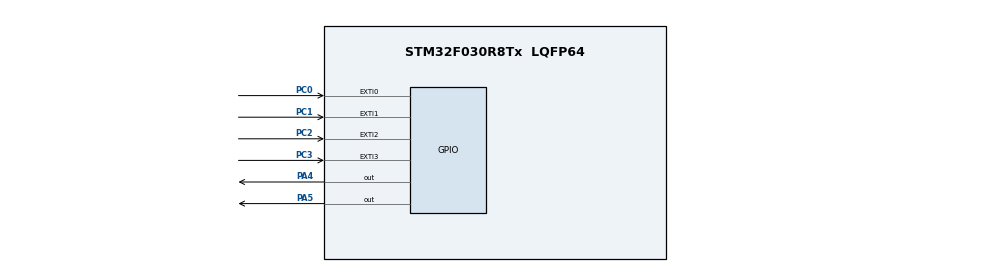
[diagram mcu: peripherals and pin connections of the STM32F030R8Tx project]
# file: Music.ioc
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Mcu.Family=STM32F0
Mcu.Name=STM32F030R8Tx
Mcu.Package=LQFP64
NVIC.EXTI0_1_IRQn=true\:0\:0\:false\:false\:true
NVIC.EXTI2_3_IRQn=true\:0\:0\:false\:false\:true
NVIC.TIM3_IRQn=true\:1\:0\:true\:false\:true
PA4.Signal=GPIO_Output
PA5.Signal=GPIO_Output
PC0.GPIO_ModeDefaultEXTI=GPIO_MODE_IT_FALLING
PC0.Signal=GPXTI0
PC1.GPIO_ModeDefaultEXTI=GPIO_MODE_IT_FALLING
PC1.Signal=GPXTI1
PC2.GPIO_ModeDefaultEXTI=GPIO_MODE_IT_FALLING
PC2.Signal=GPXTI2
PC3.GPIO_ModeDefaultEXTI=GPIO_MODE_IT_FALLING
PC3.Signal=GPXTI3
ProjectManager.HeapSize=0x200
ProjectManager.StackSize=0x400
ProjectManager.TargetToolchain=MDK-ARM V5
TIM3.Period=1
TIM3.Prescaler=0
VP_TIM3_VS_ClockSourceINT.Mode=Internal
board=Music

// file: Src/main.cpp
/**
  ******************************************************************************
  * File Name          : main.c
  * Description        : Main program body
  ******************************************************************************
  *
  * COPYRIGHT(c) 2016 STMicroelectronics
  *
  * Redistribution and use in source and binary forms, with or without modification,
  * are permitted provided that the following conditions are met:
  *   1. Redistributions of source code must retain the above copyright notice,
  *      this list of conditions and the following disclaimer.
  *   2. Redistributions in binary form must reproduce the above copyright notice,
  *      this list of conditions and the following disclaimer in the documentation
  *      and/or other materials provided with the distribution.
  *   3. Neither the name of STMicroelectronics nor the names of its contributors
  *      may be used to endorse or promote products derived from this software
  *      without specific prior written permission.
  *
  * THIS SOFTWARE IS PROVIDED BY THE COPYRIGHT HOLDERS AND CONTRIBUTORS "AS IS"
  * AND ANY EXPRESS OR IMPLIED WARRANTIES, INCLUDING, BUT NOT LIMITED TO, THE
  * IMPLIED WARRANTIES OF MERCHANTABILITY AND FITNESS FOR A PARTICULAR PURPOSE ARE
  * DISCLAIMED. IN NO EVENT SHALL THE COPYRIGHT HOLDER OR CONTRIBUTORS BE LIABLE
  * FOR ANY DIRECT, INDIRECT, INCIDENTAL, SPECIAL, EXEMPLARY, OR CONSEQUENTIAL
  * DAMAGES (INCLUDING, BUT NOT LIMITED TO, PROCUREMENT OF SUBSTITUTE GOODS OR
  * SERVICES; LOSS OF USE, DATA, OR PROFITS; OR BUSINESS INTERRUPTION) HOWEVER
  * CAUSED AND ON ANY THEORY OF LIABILITY, WHETHER IN CONTRACT, STRICT LIABILITY,
  * OR TORT (INCLUDING NEGLIGENCE OR OTHERWISE) ARISING IN ANY WAY OUT OF THE USE
  * OF THIS SOFTWARE, EVEN IF ADVISED OF THE POSSIBILITY OF SUCH DAMAGE.
  *
  ******************************************************************************
  */
#include "stm32f0xx_hal.h"

TIM_HandleTypeDef htim3;

/* USER CODE BEGIN PV */
/* Private variables ---------------------------------------------------------*/

/* USER CODE END PV */

void SystemClock_Config(void);
void Error_Handler(void);
static void MX_GPIO_Init(void);
static void MX_TIM3_Init(void);

/* USER CODE BEGIN PFP */
/* Private function prototypes -----------------------------------------------*/

/* USER CODE END PFP */

/* USER CODE BEGIN 0 */
enum stairs{
	END=-1,
	N=0,
	A1=1455,
	B1b=1373,
	B1=1296,
	C1=1223,
	C1s=1154,
	D1=1090,
	E1b=1029,
	E1=971,
	F1=916,
	F1s=865,
	G1=816,
	G1s=771,
	A2=727,
	B2b=686,
	B2=648,
	C2=612,
	C2s=577,
	D2=545,
	E2b=514,
	E2=485,
	F2=458,
	F2s=432,
	G2=408,
	G2s=385,
	A3=364,
	B3b=343,
	B3=324,
	C3=306,
	C3s=289,
	D3=272,
	E3b=257,
	E3=243,
	F3=229,
	F3s=216,
	G3=216,
	G3s=193,
	A4=182,
	B4b=172,
	B4=162,
	C4=153,
	C4s=144,
	D4=136,
	E4b=129,
	E4=121,
	F4=115,
	F4s=108,
	G4=102,
	G4s=96,
	A5=91,
	B5b=86,
	B5=81,
	C5=76,
	C5s=72,
	D5=68,
	D5s=64,
	E5b=64,
	E5=61,
	F5=57,
	F5s=54,
	G5=51,
	G5s=48,
	A6=46,
	B6b=43,
	B6=40,
	C6=38,
	C6s=36,
	D6=34,
	E6b=32,
	E6=30,
	F6=29,
	F6s=27,
	G6=26,
	G6s=24,
	A7=23,
	B7b=21,
	B7=20,
	C7=19,
	C7s=18,
	D7=17,
	E7b=16,
	E7=15,
	F7=14,
	F7s=14,
	G7=13,
	G7s=12,
	A8=11,
	B8b=11,
	B8=10,
	C8=10,
};
const int map_1[]={E4b,E4b,E4b,G4,B5b,B5b,B5b,B5b,C5,C5,E5b,C5,B5b,B5b,B5b,B5b,G4,G4,G4,G4,B5b,G4,E4b,E4b,C4,C4,E4b,G4,B5b,B5b,B5b,B5b,
C5,C5,C5,C5,C5,E5b,B5b,B5b,G4,G4,F4,F4,G4,F4,E4b,E4b,F4,F4,B5b,B5b,B5b,A5,B5b,B5b,C5,C5,C5,C5,D5,C5,B5b,B5b,E5b,E5b,E5b,E5b,C5,C5,E5b,E5b,
B5b,B5b,B5b,C5,B5b,B5b,B5b,B5b,C5,C5,C5,C5,B5b,B5b,G4,G4,F4,F4,F4,G4,B5b,B5b,B5b,B5b,E4b,E4b,E4b,E4b,E4b,E4b,G4,G4,F4,F4,G4,F4,E4b,E4b,E4b,E4b,
C5,C5,C5,C5,C5,C5,G4,G4,F4,F4,F4,G4,E4b,E4b,E4b,E4b,E5b,E5b,E5b,E5b,E5b,E5b,N,N,C5,C5,C5,C5,C5,C5,N,N,B5b,B5b,B5b,B5b,C5,C5,B5b,B5b,
F4,F4,G4,G4,B5b,B5b,B5b,B5b,E5b,E5b,E5b,E5b,E5b,E5b,N,N,C5,C5,C5,C5,C5,C5,N,N,B5b,B5b,B5b,B5b,C5,C5,B5b,B5b,F4,F4,G4,F4,E4b,E4b,E4b,E4b,END};
const int map_2[]={N,N,N,E5,E5,G5s,B6,C6s,C6s,C6s,N,C6s,C6s,B6,C6s,B6,B6,F5s,F5s,F5s,F5s,E5,F5s,G5s,
G5s,G5s,N,G5s,G5s,F5s,G5s,F5s,F5s,E5,E5,E5,E5,F5s,G5s,A6,A6,A6,N,A6,A6,G5s,A6,G5s,G5s,F5s,F5s,F5s,F5s,E5,F5s,G5s,
G5s,G5s,G5s,G5s,N,N,N,N,N,N,N,G5s,G5s,G5s,B6,C6s,C6s,C6s,N,C6s,C6s,B6,C6s,B6,B6,F5s,F5s,F5s,F5s,E5,F5s,G5s,
G5s,G5s,N,G5s,G5s,F5s,G5s,F5s,F5s,E5,E5,E5,E5,F5s,G5s,A6,A6,A6,N,A6,A6,G5s,A6,B6,B6,F5s,F5s,F5s,F5s,E5,F5s,E5,
E5,D5s,C5s,C5s,C5s,C5s,C5s,C5s,END
};
const int map_3[]={F6,F6,F6,F6,F6,F6,F6,F6,E6b,E6b,F6,F6,G6s,G6s,E6b,E6b,
	F6,F6,F6,F6,C6s,C6s,E6b,E6b,G5s,G5s,G5s,G5s,G5s,G5s,G5s,G5s,
	F6,F6,F6,F6,F6,F6,F6,F6,E6b,E6b,F6,F6,G6s,G6s,E6b,E6b,
	F6,F6,F6,F6,C6s,C6s,C6s,C6s,E6b,E6b,E6b,E6b,F6,F6,F6,F6,
	E5b,E5b,F5,E5b,E5b,F5,F5,F5,G5s,G5s,F5,E5b,E5b,F5,F5,F5,
	E5b,E5b,F5,E5b,E5b,E5b,B5b,B5b,C5s,C5s,C5s,C5s,C5s,C5s,C5s,C5s,
	E5b,E5b,F5,E5b,E5b,F5,F5,F5,G5s,G5s,F5,E5b,E5b,E5b,B5b,B5b,
	B5b,B5b,F5,F5,F5,F5,F5,F5,N,N,N,N,N,N,N,N,
	E5b,E5b,F5,E5b,E5b,E5b,F5,F5,G5s,G5s,F5,E5b,F5,F5,F5,F5,
	E5b,E5b,F5,E5b,E5b,E5b,B5b,B5b,B5b,B5b,B5b,B5b,N,N,B5b,C5s,
	E5b,E5b,F5,E5b,E5b,B5b,B5b,B5b,E5b,E5b,F5,F5,E5b,E5b,G4s,G4s,
	G4s,G4s,B5b,B5b,B5b,B5b,B5b,B5b,B5b,B5b,B5b,B5b,N,N,N,N,
	E5b,E5b,F5,E5b,E5b,F5,F5,F5,G5s,G5s,F5,E5b,E5b,F5,F5,F5,
	E5b,E5b,F5,E5b,E5b,E5b,B5b,B5b,C5s,C5s,C5s,C5s,C5s,C5s,C5s,C5s,
	E5b,E5b,F5,E5b,E5b,F5,F5,F5,G5s,G5s,F5,E5b,E5b,E5b,B5b,B5b,
	B5b,B5b,F5,F5,F5,F5,F5,F5,N,N,N,N,N,N,N,N,
	E5b,E5b,F5,E5b,E5b,E5b,F5,F5,G5s,G5s,F5,E5b,F5,F5,F5,F5,
	E5b,E5b,F5,E5b,E5b,E5b,B5b,B5b,B5b,B5b,B5b,B5b,N,N,B5b,C5s,
	E5b,E5b,F5,E5b,E5b,B5b,B5b,B5b,E5b,E5b,F5,F5,E5b,E5b,G4s,G4s,
	B5b,B5b,B5b,B5b,B5b,B5b,B5b,N,N,N,N,N,N,F5,G5s,
	B6b,B6b,G5s,B6b,B6b,C6s,C6s,C6s,B6b,B6b,G5s,G5s,G5s,E5b,E5b,E5b,
	F5,F5,E5b,F5,F5,G5s,G5s,G5s,B5b,B5b,B5b,B5b,N,N,F5,G5s,
	B6b,B6b,G5s,B6b,B6b,C6s,C6s,C6s,B6b,B6b,B6b,G5s,G5s,G5s,G5s,G5s,
	E5b,E5b,E5b,E5b,F5,F5,F5,F5,F5,F5,F5,F5,N,N,F5,G5s,
	B6b,B6b,G5s,B6b,B6b,C6s,C6s,C6s,C6,C6,C6s,E6b,G5s,G5s,G5s,G5s,
	F6,F6,G6s,E6b,E6b,E6b,F6,F6,C6s,C6s,C6s,C6s,N,N,B6b,F6,
	E6b,E6b,F6,B6b,N,N,B6b,F6,E6b,E6b,F6,E6b,E6b,E6b,G5s,G5s,
	G5s,G5s,B6b,B6b,B6b,B6b,B6b,B6b,B6b,B6b,B6b,B6b,N,N,B6b,F6,
	E6b,E6b,F6,B6b,N,N,B6b,F6,E6b,E6b,F6,E6b,G5s,G5s,G5s,G5s,
	B6b,B6b,B6b,B6b,B6b,B6b,B6b,B6b,B6b,B6b,B6b,B6b,B6b,B6b,B6b,B6b,END};
const int map_4[]={C4,D4,E4,F4,G4,A5,B5,C5,D5,E5,F5,G5,A6,B6,C6,D6,END};
const int* map[]={map_1,map_2,map_3,map_4};
int music;
int iterator;
int enable;
int count;
int time1;
int time2;
int T=8000;
int buffer;
int lbutton1;
int lbutton2;
int lbutton3;
int lbutton4;
int pause;
int SHIFT;
const int l=10000;
/* USER CODE END 0 */

int main(void)
{

  /* MCU Configuration----------------------------------------------------------*/

  /* Reset of all peripherals, Initializes the Flash interface and the Systick. */
  HAL_Init();

  /* Configure the system clock */
  SystemClock_Config();

  /* Initialize all configured peripherals */
  MX_GPIO_Init();
  MX_TIM3_Init();

  /* Infinite loop */
  while (1)
  {

  }

}

/** System Clock Configuration
*/
void SystemClock_Config(void)
{

  RCC_OscInitTypeDef RCC_OscInitStruct;
  RCC_ClkInitTypeDef RCC_ClkInitStruct;

  RCC_OscInitStruct.OscillatorType = RCC_OSCILLATORTYPE_HSI;
  RCC_OscInitStruct.HSIState = RCC_HSI_ON;
  RCC_OscInitStruct.HSICalibrationValue = 16;
  RCC_OscInitStruct.PLL.PLLState = RCC_PLL_NONE;
  if (HAL_RCC_OscConfig(&RCC_OscInitStruct) != HAL_OK)
  {
    Error_Handler();
  }

  RCC_ClkInitStruct.ClockType = RCC_CLOCKTYPE_HCLK|RCC_CLOCKTYPE_SYSCLK
                              |RCC_CLOCKTYPE_PCLK1;
  RCC_ClkInitStruct.SYSCLKSource = RCC_SYSCLKSOURCE_HSI;
  RCC_ClkInitStruct.AHBCLKDivider = RCC_SYSCLK_DIV1;
  RCC_ClkInitStruct.APB1CLKDivider = RCC_HCLK_DIV1;
  if (HAL_RCC_ClockConfig(&RCC_ClkInitStruct, FLASH_LATENCY_0) != HAL_OK)
  {
    Error_Handler();
  }

  HAL_SYSTICK_Config(HAL_RCC_GetHCLKFreq()/1000);

  HAL_SYSTICK_CLKSourceConfig(SYSTICK_CLKSOURCE_HCLK);

  /* SysTick_IRQn interrupt configuration */
  HAL_NVIC_SetPriority(SysTick_IRQn, 0, 0);
}

/* TIM3 init function */
static void MX_TIM3_Init(void)
{

  TIM_ClockConfigTypeDef sClockSourceConfig;
  TIM_MasterConfigTypeDef sMasterConfig;

  htim3.Instance = TIM3;
  htim3.Init.Prescaler = 0;
  htim3.Init.CounterMode = TIM_COUNTERMODE_UP;
  htim3.Init.Period = 1;
  htim3.Init.ClockDivision = TIM_CLOCKDIVISION_DIV1;
  if (HAL_TIM_Base_Init(&htim3) != HAL_OK)
  {
    Error_Handler();
  }

  sClockSourceConfig.ClockSource = TIM_CLOCKSOURCE_INTERNAL;
  if (HAL_TIM_ConfigClockSource(&htim3, &sClockSourceConfig) != HAL_OK)
  {
    Error_Handler();
  }

  sMasterConfig.MasterOutputTrigger = TIM_TRGO_RESET;
  sMasterConfig.MasterSlaveMode = TIM_MASTERSLAVEMODE_DISABLE;
  if (HAL_TIMEx_MasterConfigSynchronization(&htim3, &sMasterConfig) != HAL_OK)
  {
    Error_Handler();
  }

}

/** Configure pins as
        * Analog
        * Input
        * Output
        * EVENT_OUT
        * EXTI
*/
static void MX_GPIO_Init(void)
{

  GPIO_InitTypeDef GPIO_InitStruct;

  /* GPIO Ports Clock Enable */
  __HAL_RCC_GPIOC_CLK_ENABLE();
  __HAL_RCC_GPIOA_CLK_ENABLE();

  /*Configure GPIO pins : PC0 PC1 PC2 PC3 */
  GPIO_InitStruct.Pin = GPIO_PIN_0|GPIO_PIN_1|GPIO_PIN_2|GPIO_PIN_3;
  GPIO_InitStruct.Mode = GPIO_MODE_IT_FALLING;
  GPIO_InitStruct.Pull = GPIO_NOPULL;
  HAL_GPIO_Init(GPIOC, &GPIO_InitStruct);

  /*Configure GPIO pins : PA4 PA5 */
  GPIO_InitStruct.Pin = GPIO_PIN_4|GPIO_PIN_5;
  GPIO_InitStruct.Mode = GPIO_MODE_OUTPUT_PP;
  GPIO_InitStruct.Pull = GPIO_NOPULL;
  GPIO_InitStruct.Speed = GPIO_SPEED_FREQ_LOW;
  HAL_GPIO_Init(GPIOA, &GPIO_InitStruct);

  /*Configure GPIO pin Output Level */
  HAL_GPIO_WritePin(GPIOA, GPIO_PIN_4|GPIO_PIN_5, GPIO_PIN_RESET);

  /* EXTI interrupt init*/
  HAL_NVIC_SetPriority(EXTI0_1_IRQn, 0, 0);
  HAL_NVIC_EnableIRQ(EXTI0_1_IRQn);

  HAL_NVIC_SetPriority(EXTI2_3_IRQn, 0, 0);
  HAL_NVIC_EnableIRQ(EXTI2_3_IRQn);

}

/* USER CODE BEGIN 4 */
void HAL_TIM_PeriodElapsedCallback(TIM_HandleTypeDef * htim){
	if (!pause){
		++time1;
		++time2;
	}
	if(time1==T){
		HAL_GPIO_TogglePin(GPIOA,GPIO_PIN_5);
		 ++iterator;
		//if (map[music][iterator-1]!=map[music][iterator-1])
			time2=0;
		if(map[music][iterator]==END){
			HAL_GPIO_WritePin(GPIOA,GPIO_PIN_5,GPIO_PIN_RESET);
			iterator=0;
			enable=0;
			HAL_TIM_Base_Stop_IT(&htim3);
			return;
		}
		time1=0;
	}
	else if(map[music][iterator]==N) return;
	else if (time2==(map[music][iterator]>>1)){
		time2=0;
		HAL_GPIO_TogglePin(GPIOA,GPIO_PIN_4);
	}
	if(HAL_GPIO_ReadPin(GPIOC,GPIO_PIN_0)==GPIO_PIN_SET) lbutton1++;
	else lbutton1=0;
	if(HAL_GPIO_ReadPin(GPIOC,GPIO_PIN_1)==GPIO_PIN_SET) lbutton2++;
	else lbutton2=0;
	if(HAL_GPIO_ReadPin(GPIOC,GPIO_PIN_2)==GPIO_PIN_SET) lbutton3++;
	else lbutton3=0;
	if(HAL_GPIO_ReadPin(GPIOC,GPIO_PIN_3)==GPIO_PIN_SET) lbutton4++;
	else lbutton4=0;
	if(lbutton1==l&&(!SHIFT)) {
		SHIFT=1;
		//replay
		lbutton1=0;
		iterator=0;
		for(int i=0;i<(1<<19);i++);
	}
	if(lbutton2==l&&(!SHIFT)) {
		//pause
		SHIFT=1;
		lbutton2=0;
		pause=1;
	}
	if(lbutton3==l&&(!SHIFT)) {
		SHIFT=1;
		lbutton3=0;
		pause=0;
	}
	if(lbutton4==l&&(!SHIFT)) {
		SHIFT=1;
		lbutton4=0;
		T*=1.1;
		time1=0;
	}
}
void HAL_GPIO_EXTI_Callback(uint16_t GPIO_PIN){
	if (SHIFT){
		SHIFT=0;
		return;
	}
	if(GPIO_PIN==GPIO_PIN_0&&(!SHIFT)){
		T=12000;
		pause=0;
		if(enable){
			if(music==0){
				HAL_GPIO_WritePin(GPIOA,GPIO_PIN_5,GPIO_PIN_RESET);
				HAL_TIM_Base_Stop_IT(&htim3);
				enable=0;
				iterator=0;
			}
			else{
				HAL_GPIO_WritePin(GPIOA,GPIO_PIN_5,GPIO_PIN_RESET);
				HAL_TIM_Base_Stop_IT(&htim3);
				for(int i=0;i<(1<<19);i++);
				music=0;
				enable=1;
				iterator=0;
				time1=time2=0;
				HAL_TIM_Base_Start_IT(&htim3);
			}
		}
		else{
			music=0;
			enable=1;
			iterator=0;
			time1=time2=0;
			HAL_TIM_Base_Start_IT(&htim3);
		}
	}
	else if(GPIO_PIN==GPIO_PIN_1&&(!SHIFT)){
		pause=0;
		T=12000;
		if(enable){
			if(music==1){
				HAL_GPIO_WritePin(GPIOA,GPIO_PIN_5,GPIO_PIN_RESET);
				HAL_TIM_Base_Stop_IT(&htim3);
				enable=0;
				iterator=0;
			}
			else{
				HAL_GPIO_WritePin(GPIOA,GPIO_PIN_5,GPIO_PIN_RESET);
				HAL_TIM_Base_Stop_IT(&htim3);
				for(int i=0;i<(1<<19);i++);
				music=1;
				enable=1;
				iterator=0;
				time1=time2=0;
				HAL_TIM_Base_Start_IT(&htim3);
			}
		}
		else{
			music=1;
			enable=1;
			iterator=0;
			time1=time2=0;
			HAL_TIM_Base_Start_IT(&htim3);
		}
	}
	else if(GPIO_PIN==GPIO_PIN_2&&(!SHIFT)){
		pause=0;
		T=8000;
		if(enable){
			if(music==2){
				HAL_GPIO_WritePin(GPIOA,GPIO_PIN_5,GPIO_PIN_RESET);
				HAL_TIM_Base_Stop_IT(&htim3);
				enable=0;
				iterator=0;
			}
			else{
				HAL_GPIO_WritePin(GPIOA,GPIO_PIN_5,GPIO_PIN_RESET);
				HAL_TIM_Base_Stop_IT(&htim3);
				for(int i=0;i<(1<<19);i++);
				music=2;
				enable=1;
				iterator=0;
				time1=time2=0;
				HAL_TIM_Base_Start_IT(&htim3);
			}
		}
		else{
			music=2;
			enable=1;
			iterator=0;
			time1=time2=0;
			HAL_TIM_Base_Start_IT(&htim3);
		}
	}
	else if (GPIO_PIN==GPIO_PIN_3&&(!SHIFT)) {
		time1=0;
		T/=1.1;
	}

}

/* USER CODE END 4 */

void Error_Handler(void)
{
  while(1)
  {
  }
}

/************************ (C) COPYRIGHT STMicroelectronics *****END OF FILE****/
